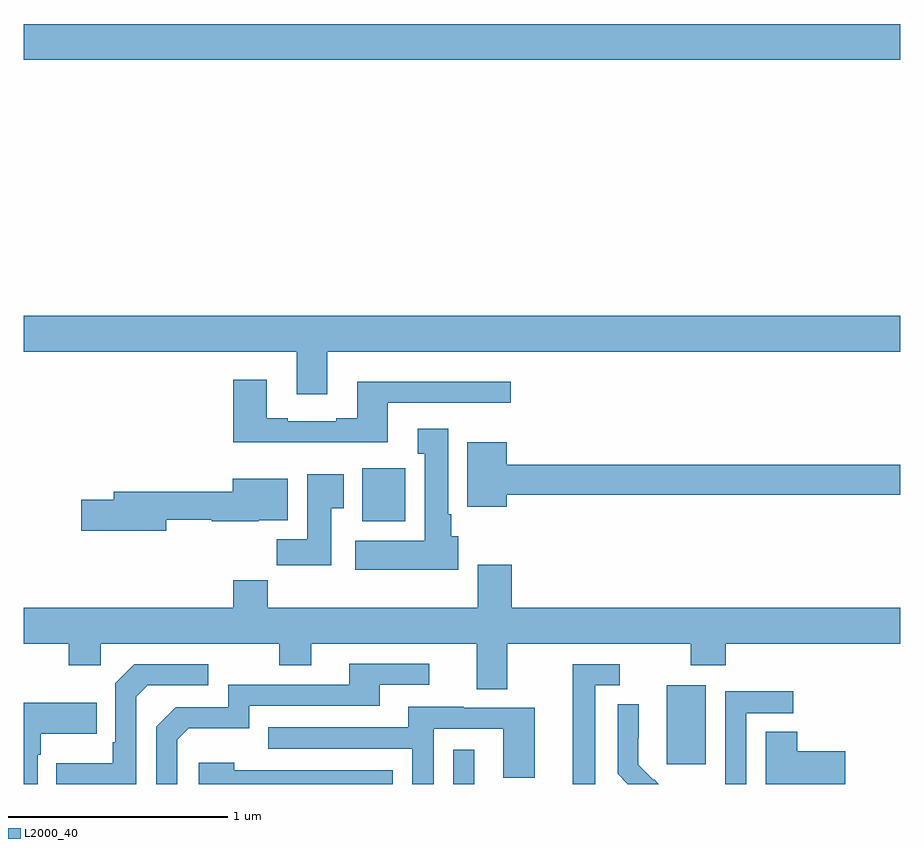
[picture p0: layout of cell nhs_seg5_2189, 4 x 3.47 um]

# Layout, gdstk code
import gdstk
lib = gdstk.Library(unit=1e-6, precision=1e-09)
def R(c, l, rs):  # rectangles x0, y0, x1, y1
    for r in rs: c.add(gdstk.rectangle(r[:2], r[2:], *l))
def P(c, l, *ps):  # polygons
    for p in ps: c.add(gdstk.Polygon(p, *l))
L2000_40 = (2000, 40)

nhs_seg5_2189 = lib.new_cell('nhs_seg5_2189')
R(nhs_seg5_2189, L2000_40, [(240.96,842.799,241.057,842.956), (241.934,842.889,242.113,843.25), (240.545,843.998,240.742,844.24), (239,846.104,243,846.268)])
P(nhs_seg5_2189, L2000_40, [(240.385,844.772),(243,844.772),(243,844.936),(239,844.936),(239,844.772),(240.245,844.772),(240.245,844.578),(240.385,844.578)],
  [(240.661,844.539),(241.222,844.539),(241.222,844.636),(240.521,844.636),(240.521,844.468),(240.425,844.468),(240.425,844.455),(240.205,844.455),(240.205,844.468),(240.109,844.468),(240.109,844.645),(239.957,844.645),(239.957,844.358),(240.661,844.358)],
  [(240.982,843.93),(240.952,843.93),(240.952,844.03),(240.937,844.03),(240.937,844.42),(240.797,844.42),(240.797,844.307),(240.83,844.307),(240.83,843.91),(240.513,843.91),(240.513,843.776),(240.982,843.776)],
  [(241.204,844.12),(243,844.12),(243,844.256),(241.204,844.256),(241.204,844.36),(241.025,844.36),(241.025,844.064),(241.204,844.064)],
  [(240.403,844.057),(240.46,844.057),(240.46,844.213),(240.293,844.213),(240.293,843.916),(240.154,843.916),(240.154,843.798),(240.403,843.798)],
  [(239.65,844.005),(239.858,844.005),(239.858,843.998),(240.072,843.998),(240.072,844.004),(240.205,844.004),(240.205,844.192),(239.954,844.192),(239.954,844.133),(239.411,844.133),(239.411,844.097),(239.262,844.097),(239.262,843.955),(239.65,843.955)],
  [(241.207,843.44),(242.044,843.44),(242.044,843.341),(242.204,843.341),(242.204,843.44),(243,843.44),(243,843.604),(241.226,843.604),(241.226,843.799),(241.073,843.799),(241.073,843.604),(240.113,843.604),(240.113,843.728),(239.957,843.728),(239.957,843.604),(239,843.604),(239,843.44),(239.206,843.44),(239.206,843.341),(239.352,843.341),(239.352,843.44),(240.166,843.44),(240.166,843.341),(240.313,843.341),(240.313,843.44),(241.067,843.44),(241.067,843.232),(241.207,843.232)],
  [(239.7,843),(239.753,843.053),(240.03,843.053),(240.03,843.156),(240.625,843.156),(240.625,843.252),(240.85,843.252),(240.85,843.348),(240.485,843.348),(240.485,843.252),(239.934,843.252),(239.934,843.15),(239.694,843.15),(239.604,843.06),(239.604,842.799),(239.7,842.799)],
  [(241.609,843.249),(241.72,843.249),(241.72,843.345),(241.505,843.345),(241.505,842.799),(241.609,842.799)],
  [(239.514,843.198),(239.565,843.249),(239.842,843.249),(239.842,843.345),(239.505,843.345),(239.418,843.258),(239.418,842.989),(239.406,842.989),(239.406,842.893),(239.149,842.893),(239.149,842.799),(239.514,842.799)],
  [(242.298,843.123),(242.512,843.123),(242.512,843.222),(242.202,843.222),(242.202,842.799),(242.298,842.799)],
  [(239.064,842.933),(239.077,842.933),(239.077,843.029),(239.333,843.029),(239.333,843.169),(239,843.169),(239,842.799),(239.064,842.799)],
  [(241.878,842.82),(241.875,842.817),(241.805,842.888),(241.805,843.01),(241.806,843.01),(241.806,843.164),(241.71,843.164),(241.71,842.846),(241.757,842.799),(241.899,842.799)],
  [(240.87,843.051),(241.188,843.051),(241.188,842.827),(241.333,842.827),(241.333,843.147),(241.009,843.147),(241.009,843.151),(240.755,843.151),(240.755,843.057),(240.115,843.057),(240.115,842.961),(240.774,842.961),(240.774,842.799),(240.87,842.799)],
  [(242.749,842.948),(242.531,842.948),(242.531,843.038),(242.387,843.038),(242.387,842.799),(242.749,842.799)],
  [(240.684,842.862),(239.96,842.862),(239.96,842.896),(239.799,842.896),(239.799,842.799),(240.684,842.799)])

lib.write_gds('nhs_seg5_2189.gds')
